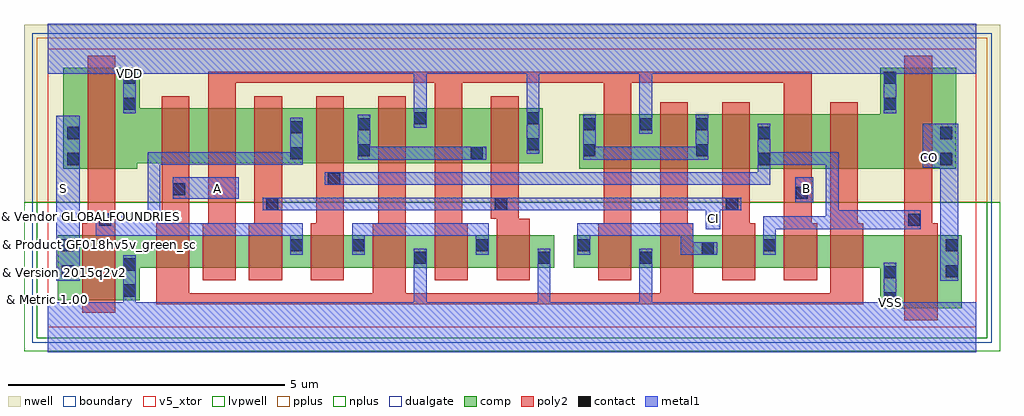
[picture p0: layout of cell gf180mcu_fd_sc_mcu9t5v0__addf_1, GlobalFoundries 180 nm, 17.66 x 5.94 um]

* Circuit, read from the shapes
.subckt gf180mcu_fd_sc_mcu9t5v0__addf_1 A B CI CO S VDD VSS
XM1 VSS n1 S VSUBS nfet_05v0 w=1.18u l=0.6u
XM2 n2 A VSS VSUBS nfet_05v0 w=0.59u l=0.6u
XM3 n3 B n2 VSUBS nfet_05v0 w=0.59u l=0.6u
XM4 n1 CI n3 VSUBS nfet_05v0 w=0.59u l=0.6u
XM5 n4 n5 n1 VSUBS nfet_05v0 w=0.59u l=0.6u
XM6 VSS A n4 VSUBS nfet_05v0 w=0.59u l=0.6u
XM7 n4 B VSS VSUBS nfet_05v0 w=0.59u l=0.6u
XM8 VSS CI n4 VSUBS nfet_05v0 w=0.59u l=0.6u
XM9 VSS B n6 VSUBS nfet_05v0 w=0.59u l=0.6u
XM10 n6 A VSS VSUBS nfet_05v0 w=0.59u l=0.6u
XM11 n5 CI n6 VSUBS nfet_05v0 w=0.59u l=0.6u
XM12 n7 B n5 VSUBS nfet_05v0 w=0.59u l=0.6u
XM13 VSS A n7 VSUBS nfet_05v0 w=0.59u l=0.6u
XM14 CO n5 VSS VSUBS nfet_05v0 w=1.32u l=0.6u
XM15 VDD n1 S n8 pfet_05v0 w=1.83u l=0.5u
XM16 n9 A VDD n8 pfet_05v0 w=0.99u l=0.5u
XM17 n10 B n9 n8 pfet_05v0 w=0.99u l=0.5u
XM18 n1 CI n10 n8 pfet_05v0 w=0.99u l=0.5u
XM19 n11 n5 n1 n8 pfet_05v0 w=0.99u l=0.5u
XM20 VDD A n11 n8 pfet_05v0 w=0.99u l=0.5u
XM21 n11 B VDD n8 pfet_05v0 w=0.99u l=0.5u
XM22 VDD CI n11 n8 pfet_05v0 w=0.99u l=0.5u
XM23 VDD B n12 n8 pfet_05v0 w=0.99u l=0.5u
XM24 n12 A VDD n8 pfet_05v0 w=0.99u l=0.5u
XM25 n5 CI n12 n8 pfet_05v0 w=0.99u l=0.5u
XM26 n13 B n5 n8 pfet_05v0 w=0.99u l=0.5u
XM27 VDD A n13 n8 pfet_05v0 w=0.99u l=0.5u
XM28 CO n5 VDD n8 pfet_05v0 w=1.83u l=0.5u
.ends

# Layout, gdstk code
import gdstk
lib = gdstk.Library(unit=1e-6, precision=1e-09)
def R(c, l, rs):  # rectangles x0, y0, x1, y1
    for r in rs: c.add(gdstk.rectangle(r[:2], r[2:], *l))
def A(c, l, x, y, w, h, nx, ny, dx, dy):  # array of equal rectangles
    R(c, l, [(x+i*dx, y+j*dy, x+i*dx+w, y+j*dy+h) for i in range(nx) for j in range(ny)])
def P(c, l, *ps):  # polygons
    for p in ps: c.add(gdstk.Polygon(p, *l))
boundary = (0, 0)
nwell = (21, 0)
comp = (22, 0)
poly2 = (30, 0)
pplus = (31, 0)
nplus = (32, 0)
contact = (33, 0)
metal1 = (34, 0)
dualgate = (55, 0)
v5_xtor = (112, 1)
lvpwell = (204, 0)

gf180mcu_fd_sc_mcu9t5v0_ = lib.new_cell('gf180mcu_fd_sc_mcu9t5v0__addf_1')
R(gf180mcu_fd_sc_mcu9t5v0_, boundary, [(0,0,16.8,5.04)])
R(gf180mcu_fd_sc_mcu9t5v0_, nwell, [(-0.43,2.265,17.23,5.47)])
P(gf180mcu_fd_sc_mcu9t5v0_, comp, [(0.28,2.865),(0.28,4.695),(1.66,4.695),(1.66,3.96),(8.96,3.96),(8.96,2.97),(1.62,2.97),(1.62,2.865)],
  [(0.18,0.485),(0.18,1.665),(9.16,1.665),(9.16,1.075),(1.66,1.075),(1.66,0.485)],
  [(9.62,2.865),(9.62,3.855),(15.06,3.855),(15.06,4.695),(16.44,4.695),(16.44,2.865)],
  [(15.06,0.345),(15.06,1.075),(9.52,1.075),(9.52,1.665),(16.54,1.665),(16.54,0.345)])
P(gf180mcu_fd_sc_mcu9t5v0_, poly2, [(0.62,0.265),(0.62,1.885),(0.72,1.885),(0.72,4.915),(1.22,4.915),(1.22,0.265)],
  [(3.64,0.855),(3.64,1.885),(3.74,1.885),(3.74,4.18),(4.24,4.18),(4.24,0.855)],
  [(4.76,0.855),(4.76,1.885),(4.86,1.885),(4.86,4.18),(5.36,4.18),(5.36,0.855)],
  [(8.12,0.855),(8.12,1.965),(8.02,1.965),(8.02,4.18),(8.52,4.18),(8.52,1.965),(8.72,1.965),(8.72,0.855)],
  [(12.2,0.855),(12.2,4.075),(12.7,4.075),(12.7,1.885),(12.8,1.885),(12.8,0.855)],
  [(2.8,0.855),(2.8,1.885),(2.9,1.885),(2.9,4.62),(13.82,4.62),(13.82,1.885),(13.92,1.885),(13.92,0.855),(13.32,0.855),(13.32,4.42),(10.56,4.42),(10.56,0.855),(9.96,0.855),(9.96,1.885),(10.06,1.885),(10.06,4.42),(7.5,4.42),(7.5,1.885),(7.6,1.885),(7.6,0.855),(7,0.855),(7,4.42),(3.4,4.42),(3.4,0.855)],
  [(1.96,0.415),(1.96,1.885),(2.06,1.885),(2.06,4.18),(2.56,4.18),(2.56,0.615),(5.88,0.615),(5.88,1.885),(5.98,1.885),(5.98,4.18),(6.48,4.18),(6.48,0.615),(11.08,0.615),(11.08,4.075),(11.58,4.075),(11.58,1.885),(11.68,1.885),(11.68,0.615),(14.16,0.615),(14.16,4.075),(14.66,4.075),(14.66,1.885),(14.76,1.885),(14.76,0.415)],
  [(15.5,0.125),(15.5,4.915),(16,4.915),(16,1.885),(16.1,1.885),(16.1,0.125)])
R(gf180mcu_fd_sc_mcu9t5v0_, pplus, [(-0.2,2.265,17,5.24)])
R(gf180mcu_fd_sc_mcu9t5v0_, nplus, [(-0.2,-0.2,17,2.265)])
A(gf180mcu_fd_sc_mcu9t5v0_, contact, 9.69, 3.565, 0.22, 0.22, 3, 1, 1.02, 0)
R(gf180mcu_fd_sc_mcu9t5v0_, contact, [(15.13,0.415,15.35,0.635), (1.37,0.555,1.59,0.775), (15.13,0.885,15.35,1.105), (0.25,0.905,0.47,1.125), (16.25,0.905,16.47,1.125), (1.37,1.025,1.59,1.245), (6.63,1.145,6.85,1.365), (8.87,1.145,9.09,1.365), (10.71,1.145,10.93,1.365), (11.83,1.315,12.05,1.535), (0.25,1.375,0.47,1.595), (4.39,1.375,4.61,1.595), (5.51,1.375,5.73,1.595), (7.75,1.375,7.97,1.595), (9.59,1.375,9.81,1.595), (12.95,1.375,13.17,1.595), (16.25,1.375,16.47,1.595), (0.93,1.835,1.15,2.055), (15.57,1.835,15.79,2.055), (3.95,2.12,4.17,2.34), (8.09,2.12,8.31,2.34), (12.27,2.12,12.49,2.34), (13.53,2.325,13.75,2.545), (2.27,2.39,2.49,2.61), (5.07,2.58,5.29,2.8), (0.35,2.935,0.57,3.155), (12.85,2.935,13.07,3.155), (16.15,2.935,16.37,3.155), (4.39,3.04,4.61,3.26), (7.65,3.04,7.87,3.26), (5.61,3.095,5.83,3.315), (9.69,3.095,9.91,3.315), (11.73,3.095,11.95,3.315), (8.67,3.2,8.89,3.42), (0.35,3.405,0.57,3.625), (12.85,3.405,13.07,3.625), (16.15,3.405,16.37,3.625), (4.39,3.51,4.61,3.73), (5.61,3.565,5.83,3.785), (6.63,3.67,6.85,3.89), (8.67,3.67,8.89,3.89), (1.37,3.935,1.59,4.155), (15.13,3.935,15.35,4.155), (1.37,4.405,1.59,4.625), (15.13,4.405,15.35,4.625)])
R(gf180mcu_fd_sc_mcu9t5v0_, metal1, [(0.15,0.845,0.575,3.83), (13.525,2.265,13.85,2.71), (2.265,2.33,3.455,2.71)])
P(gf180mcu_fd_sc_mcu9t5v0_, metal1, [(4.385,1.315),(4.385,1.655),(0.87,1.655),(0.87,2.06),(1.805,2.06),(1.805,3.17),(4.385,3.17),(4.385,3.79),(4.615,3.79),(4.615,2.94),(2.035,2.94),(2.035,1.885),(4.615,1.885),(4.615,1.315)],
  [(5.605,3.035),(5.605,3.845),(5.835,3.845),(5.835,3.265),(7.93,3.265),(7.93,3.035)],
  [(5.505,1.315),(5.505,1.885),(7.975,1.885),(7.975,1.315),(7.745,1.315),(7.745,1.655),(5.735,1.655),(5.735,1.315)],
  [(9.685,3.035),(9.685,3.845),(9.915,3.845),(9.915,3.265),(11.725,3.265),(11.725,3.845),(11.955,3.845),(11.955,3.035)],
  [(11.45,1.31),(11.45,1.655),(9.815,1.655),(9.815,1.315),(9.585,1.315),(9.585,1.885),(11.68,1.885),(11.68,1.54),(12.11,1.54),(12.11,1.31)],
  [(11.91,1.77),(11.91,2.115),(3.89,2.115),(3.89,2.345),(12.55,2.345),(12.55,2.115),(12.17,2.115),(12.17,1.77)],
  [(12.945,1.315),(12.945,2.005),(14.08,2.005),(14.08,2.94),(13.075,2.94),(13.075,2.575),(5.01,2.575),(5.01,2.805),(12.845,2.805),(12.845,3.685),(13.075,3.685),(13.075,3.17),(14.31,3.17),(14.31,2.115),(15.795,2.115),(15.795,1.775),(13.175,1.775),(13.175,1.315)],
  [(16.145,0.845),(16.145,2.89),(15.83,2.89),(15.83,3.685),(16.475,3.685),(16.475,0.845)],
  [(0,-0.45),(0,0.45),(1.365,0.45),(1.365,1.305),(1.595,1.305),(1.595,0.45),(6.625,0.45),(6.625,1.425),(6.855,1.425),(6.855,0.45),(8.865,0.45),(8.865,1.425),(9.095,1.425),(9.095,0.45),(10.705,0.45),(10.705,1.425),(10.935,1.425),(10.935,0.45),(15.125,0.45),(15.125,1.165),(15.355,1.165),(15.355,0.45),(16.8,0.45),(16.8,-0.45)],
  [(8.665,3.14),(8.665,4.59),(6.855,4.59),(6.855,3.61),(6.625,3.61),(6.625,4.59),(1.595,4.59),(1.595,3.875),(1.365,3.875),(1.365,4.59),(0,4.59),(0,5.49),(16.8,5.49),(16.8,4.59),(15.355,4.59),(15.355,3.875),(15.125,3.875),(15.125,4.59),(10.935,4.59),(10.935,3.505),(10.705,3.505),(10.705,4.59),(8.895,4.59),(8.895,3.14)])
R(gf180mcu_fd_sc_mcu9t5v0_, dualgate, [(-0.28,-0.28,17.08,5.32)])
R(gf180mcu_fd_sc_mcu9t5v0_, v5_xtor, [(0,0,16.8,5.04)])
R(gf180mcu_fd_sc_mcu9t5v0_, lvpwell, [(-0.43,-0.43,17.23,2.265)])
gf180mcu_fd_sc_mcu9t5v0_.add(gdstk.Label('A', (3.08,2.52), layer=34, texttype=10))
gf180mcu_fd_sc_mcu9t5v0_.add(gdstk.Label('B', (13.72,2.52), layer=34, texttype=10))
gf180mcu_fd_sc_mcu9t5v0_.add(gdstk.Label('CI', (12.04,1.96), layer=34, texttype=10))
gf180mcu_fd_sc_mcu9t5v0_.add(gdstk.Label('CO', (15.96,3.08), layer=34, texttype=10))
gf180mcu_fd_sc_mcu9t5v0_.add(gdstk.Label('S', (0.28,2.52), layer=34, texttype=10))
gf180mcu_fd_sc_mcu9t5v0_.add(gdstk.Label('VDD', (1.48,4.59), layer=34, texttype=10))
gf180mcu_fd_sc_mcu9t5v0_.add(gdstk.Label('VSS', (15.24,0.45), layer=34, texttype=10))
gf180mcu_fd_sc_mcu9t5v0_.add(gdstk.Label('& Vendor GLOBALFOUNDRIES', (0,2), layer=63, texttype=63))
gf180mcu_fd_sc_mcu9t5v0_.add(gdstk.Label('& Product GF018hv5v_green_sc9', (0,1.5), layer=63, texttype=63))
gf180mcu_fd_sc_mcu9t5v0_.add(gdstk.Label('& Version 2015q2v2', (0,1), layer=63, texttype=63))
gf180mcu_fd_sc_mcu9t5v0_.add(gdstk.Label('& Metric 1.00', (0,0.5), layer=63, texttype=63))

lib.write_gds('gf180mcu_fd_sc_mcu9t5v0__addf_1.gds')
